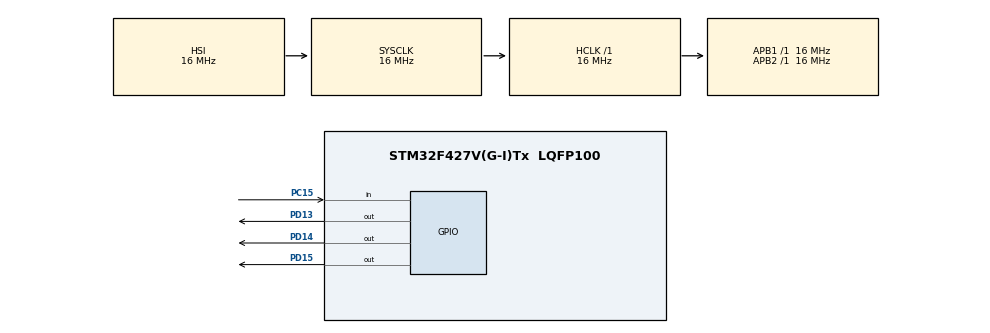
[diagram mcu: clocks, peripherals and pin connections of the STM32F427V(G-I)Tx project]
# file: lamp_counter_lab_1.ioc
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Mcu.Family=STM32F4
Mcu.Name=STM32F427V(G-I)Tx
Mcu.Package=LQFP100
NVIC.PriorityGroup=NVIC_PRIORITYGROUP_4
PA13.Mode=JTAG_5_pins
PA13.Signal=SYS_JTMS-SWDIO
PA14.Mode=JTAG_5_pins
PA14.Signal=SYS_JTCK-SWCLK
PA15.Mode=JTAG_5_pins
PA15.Signal=SYS_JTDI
PB3.Mode=JTAG_5_pins
PB3.Signal=SYS_JTDO-SWO
PB4.Mode=JTAG_5_pins
PB4.Signal=SYS_JTRST
PC15/OSC32_OUT.Signal=GPIO_Input
PD13.GPIO_PuPd=GPIO_PULLDOWN
PD13.Signal=GPIO_Output
PD14.GPIO_PuPd=GPIO_PULLDOWN
PD14.Signal=GPIO_Output
PD15.GPIO_PuPd=GPIO_PULLDOWN
PD15.Signal=GPIO_Output
ProjectManager.HeapSize=0x200
ProjectManager.StackSize=0x400
ProjectManager.TargetToolchain=STM32CubeIDE
RCC.AHBFreq_Value=16000000
RCC.APB1Freq_Value=16000000
RCC.APB2Freq_Value=16000000
RCC.CortexFreq_Value=16000000
RCC.HSE_VALUE=25000000
RCC.HSI_VALUE=16000000
RCC.LSE_VALUE=32768
RCC.SYSCLKFreq_VALUE=16000000
RCC.VCOOutputFreq_Value=192000000
board=custom

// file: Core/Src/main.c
/* USER CODE BEGIN Header */
/**
  ******************************************************************************
  * @file           : main.c
  * @brief          : Main program body
  ******************************************************************************
  * @attention
  *
  * Copyright (c) 2026 STMicroelectronics.
  * All rights reserved.
  *
  * This software is licensed under terms that can be found in the LICENSE file
  * in the root directory of this software component.
  * If no LICENSE file comes with this software, it is provided AS-IS.
  *
  ******************************************************************************
  */
/* USER CODE END Header */
#include "main.h"
#include "gpio.h"

/* USER CODE BEGIN Includes */
#include "my_gpio_driver.h"
#include "stm32f4xx.h"
/* USER CODE END Includes */

/* USER CODE BEGIN PV */

uint8_t counter = 0;
uint8_t overflows = 0;

/* USER CODE END PV */

void SystemClock_Config(void);
/* USER CODE BEGIN PFP */
void Update_LEDs(uint8_t val);
void Play_Animation(void);
/* USER CODE END PFP */

/* USER CODE BEGIN 0 */
void Update_LEDs(uint8_t val) {
    MyGPIO_Write(GPIOD, GPIO_PIN_13, (val & 0x01) ? 1 : 0);

    if ((val >> 1) & 0x01) {
        MyGPIO_Write(GPIOD, GPIO_PIN_14, 1);
        MyGPIO_Write(GPIOD, GPIO_PIN_15, 0);
    } else {
        MyGPIO_Write(GPIOD, GPIO_PIN_14, 0);
        MyGPIO_Write(GPIOD, GPIO_PIN_15, 0);
    }
}

void Play_Animation(void) {
    for(int i = 0; i < 3; i++) {
        MyGPIO_Write(GPIOD, GPIO_PIN_13 | GPIO_PIN_14, 1);
        MyGPIO_Write(GPIOD, GPIO_PIN_15, 0);
        HAL_Delay(200);
        MyGPIO_Write(GPIOD, GPIO_PIN_13 | GPIO_PIN_14, 0);
        MyGPIO_Write(GPIOD, GPIO_PIN_15, 0);
        HAL_Delay(200);
    }
    for(int i = 0; i < overflows; i++) {
        MyGPIO_Write(GPIOD, GPIO_PIN_13, 1);
        HAL_Delay(300);
        MyGPIO_Write(GPIOD, GPIO_PIN_13, 0);
        HAL_Delay(300);
    }
}
/* USER CODE END 0 */

int main(void) {
    RCC->CR |= RCC_CR_HSION;
    while (!(RCC->CR & RCC_CR_HSIRDY));
    RCC->CFGR &= ~RCC_CFGR_SW;

    SystemCoreClock = 16000000;
    Timer_Init();

    MyGPIO_Init(GPIOD, GPIO_PIN_13 | GPIO_PIN_14 | GPIO_PIN_15, MY_GPIO_MODE_OUTPUT);
    MyGPIO_Init(GPIOC, GPIO_PIN_15, MY_GPIO_MODE_INPUT);

    while (1) {
        if (MyGPIO_Read(GPIOC, GPIO_PIN_15) == 0) {
            uint32_t start_time = Get_Ticks();

            while(MyGPIO_Read(GPIOC, GPIO_PIN_15) == 0);

            if ((Get_Ticks() - start_time) < 500) {
                counter++;
                if (counter > 3) {
                    counter = 0;
                    overflows++;
                    Play_Animation();
                }
            } else {
                if (counter == 0) {
                    counter = 3;
                    if (overflows > 0) overflows--;
                    Play_Animation();
                } else {
                    counter--;
                }
            }
            Update_LEDs(counter);
        }
    }
}
void SystemClock_Config(void)
{
  RCC_OscInitTypeDef RCC_OscInitStruct = {0};
  RCC_ClkInitTypeDef RCC_ClkInitStruct = {0};

  /** Configure the main internal regulator output voltage
  */
  __HAL_RCC_PWR_CLK_ENABLE();
  __HAL_PWR_VOLTAGESCALING_CONFIG(PWR_REGULATOR_VOLTAGE_SCALE3);

  /** Initializes the RCC Oscillators according to the specified parameters
  * in the RCC_OscInitTypeDef structure.
  */
  RCC_OscInitStruct.OscillatorType = RCC_OSCILLATORTYPE_HSI;
  RCC_OscInitStruct.HSIState = RCC_HSI_ON;
  RCC_OscInitStruct.HSICalibrationValue = RCC_HSICALIBRATION_DEFAULT;
  RCC_OscInitStruct.PLL.PLLState = RCC_PLL_NONE;
  if (HAL_RCC_OscConfig(&RCC_OscInitStruct) != HAL_OK)
  {
    Error_Handler();
  }

  /** Initializes the CPU, AHB and APB buses clocks
  */
  RCC_ClkInitStruct.ClockType = RCC_CLOCKTYPE_HCLK|RCC_CLOCKTYPE_SYSCLK
                              |RCC_CLOCKTYPE_PCLK1|RCC_CLOCKTYPE_PCLK2;
  RCC_ClkInitStruct.SYSCLKSource = RCC_SYSCLKSOURCE_HSI;
  RCC_ClkInitStruct.AHBCLKDivider = RCC_SYSCLK_DIV1;
  RCC_ClkInitStruct.APB1CLKDivider = RCC_HCLK_DIV1;
  RCC_ClkInitStruct.APB2CLKDivider = RCC_HCLK_DIV1;

  if (HAL_RCC_ClockConfig(&RCC_ClkInitStruct, FLASH_LATENCY_0) != HAL_OK)
  {
    Error_Handler();
  }
}

void Error_Handler(void)
{
  __disable_irq();
  while (1)
  {
  }
}
